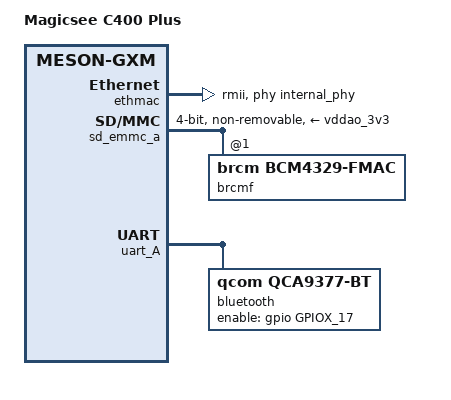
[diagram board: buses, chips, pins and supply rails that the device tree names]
/dts-v1/;

#include "meson-gxm.dtsi"
#include "meson-gx-p23x-q20x.dtsi"

/ {
	compatible = "magicsee,c400-plus", "amlogic,s912", "amlogic,meson-gxm";
	model = "Magicsee C400 Plus";
};

/* Q201 has only internal PHY port */
&ethmac {
	phy-mode = "rmii";
	phy-handle = <&internal_phy>;
};

&sd_emmc_a {
	brcmf: wifi@1 {
		reg = <1>;
		compatible = "brcm,bcm4329-fmac";
	};
};

&uart_A {
	status = "okay";
	pinctrl-0 = <&uart_a_pins>, <&uart_a_cts_rts_pins>;
	pinctrl-names = "default";
	uart-has-rtscts;

	bluetooth {
		compatible = "qcom,qca9377-bt";
		enable-gpios = <&gpio GPIOX_17 GPIO_ACTIVE_HIGH>;
		max-speed = <2000000>;
		clocks = <&wifi32k>;
		clock-names = "lpo";
	};
};

/* Wireless SDIO Module */
&sd_emmc_a {
	status = "okay";
	pinctrl-0 = <&sdio_pins>;
	pinctrl-1 = <&sdio_clk_gate_pins>;
	pinctrl-names = "default", "clk-gate";
	#address-cells = <1>;
	#size-cells = <0>;

	bus-width = <4>;
	cap-sd-highspeed;
	sd-uhs-sdr12;
	sd-uhs-sdr25;
	sd-uhs-sdr50;
	sd-uhs-sdr104;
	max-frequency = <50000000>;

	non-removable;
	disable-wp;

	/* WiFi firmware requires power to be kept while in suspend */
	keep-power-in-suspend;

	mmc-pwrseq = <&sdio_pwrseq>;

	vmmc-supply = <&vddao_3v3>;
	vqmmc-supply = <&vddio_boot>;
};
